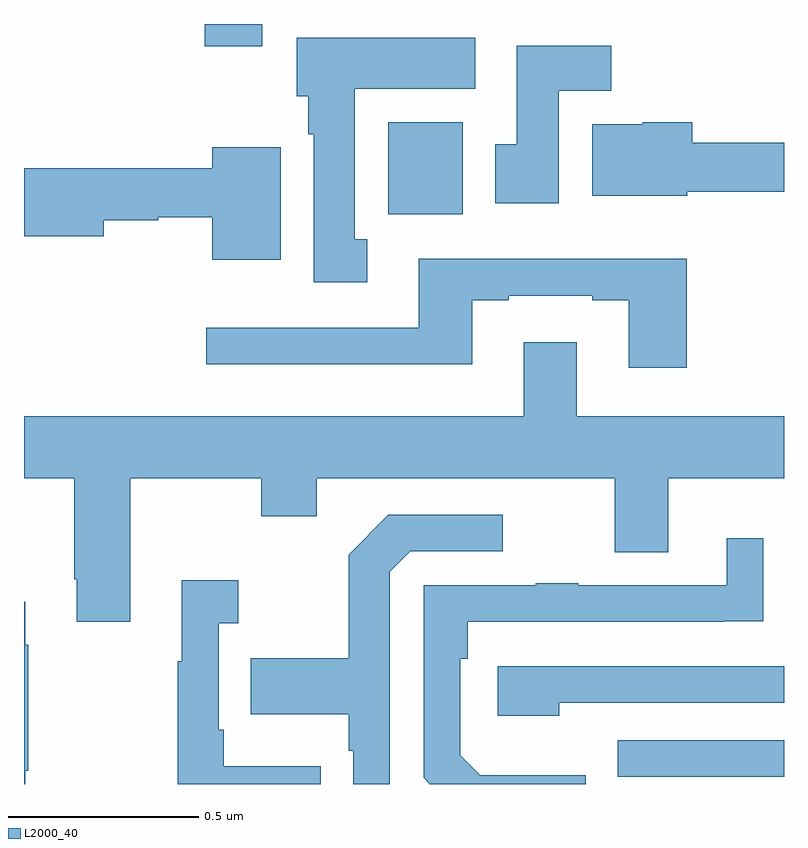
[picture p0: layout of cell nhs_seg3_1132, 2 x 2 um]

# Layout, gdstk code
import gdstk
lib = gdstk.Library(unit=1e-6, precision=1e-09)
def R(c, l, rs):  # rectangles x0, y0, x1, y1
    for r in rs: c.add(gdstk.rectangle(r[:2], r[2:], *l))
def P(c, l, *ps):  # polygons
    for p in ps: c.add(gdstk.Polygon(p, *l))
L2000_40 = (2000, 40)

nhs_seg3_1132 = lib.new_cell('nhs_seg3_1132')
R(nhs_seg3_1132, L2000_40, [(125.563,745.419,126,745.515), (124.958,746.9,125.155,747.142), (124.475,747.342,124.627,747.4)])
P(nhs_seg3_1132, L2000_40, [(124.903,746.834),(124.87,746.834),(124.87,747.23),(125.188,747.23),(125.188,747.364),(124.718,747.364),(124.718,747.21),(124.748,747.21),(124.748,747.11),(124.763,747.11),(124.763,746.721),(124.903,746.721)],
  [(125.407,747.224),(125.546,747.224),(125.546,747.343),(125.297,747.343),(125.297,747.084),(125.24,747.084),(125.24,746.928),(125.407,746.928)],
  [(125.746,746.959),(126,746.959),(126,747.088),(125.759,747.088),(125.759,747.142),(125.628,747.142),(125.628,747.136),(125.495,747.136),(125.495,746.948),(125.746,746.948)],
  [(124.675,747.076),(124.496,747.076),(124.496,747.02),(124,747.02),(124,746.842),(124.21,746.842),(124.21,746.884),(124.353,746.884),(124.353,746.892),(124.496,746.892),(124.496,746.78),(124.675,746.78)],
  [(125.744,746.782),(125.039,746.782),(125.039,746.601),(124.479,746.601),(124.479,746.504),(125.179,746.504),(125.179,746.673),(125.275,746.673),(125.275,746.685),(125.495,746.685),(125.495,746.673),(125.591,746.673),(125.591,746.496),(125.744,746.496)],
  [(124.279,746.204),(124.624,746.204),(124.624,746.105),(124.771,746.105),(124.771,746.204),(125.555,746.204),(125.555,746.01),(125.695,746.01),(125.695,746.204),(126,746.204),(126,746.368),(125.455,746.368),(125.455,746.563),(125.315,746.563),(125.315,746.368),(124,746.368),(124,746.204),(124.132,746.204),(124.132,745.939),(124.139,745.939),(124.139,745.827),(124.279,745.827)],
  [(124.962,745.959),(125.016,746.013),(125.26,746.013),(125.26,746.109),(124.959,746.109),(124.854,746.003),(124.854,745.731),(124.597,745.731),(124.597,745.583),(124.854,745.583),(124.854,745.487),(124.866,745.487),(124.866,745.4),(124.962,745.4)],
  [(125.478,745.423),(125.201,745.423),(125.148,745.476),(125.148,745.73),(125.168,745.73),(125.168,745.827),(125.843,745.827),(125.843,745.828),(125.945,745.828),(125.945,746.047),(125.849,746.047),(125.849,745.923),(125.459,745.923),(125.459,745.928),(125.347,745.928),(125.347,745.923),(125.052,745.923),(125.052,745.416),(125.068,745.4),(125.478,745.4)],
  [(124.781,745.447),(124.525,745.447),(124.525,745.543),(124.512,745.543),(124.512,745.823),(124.564,745.823),(124.564,745.936),(124.415,745.936),(124.415,745.723),(124.404,745.723),(124.404,745.4),(124.781,745.4)],
  [(124.003,745.435),(124.011,745.435),(124.011,745.766),(124.003,745.766),(124.003,745.879),(124,745.879),(124,745.4),(124.003,745.4)],
  [(125.408,745.614),(126,745.614),(126,745.71),(125.247,745.71),(125.247,745.58),(125.408,745.58)])

lib.write_gds('nhs_seg3_1132.gds')
